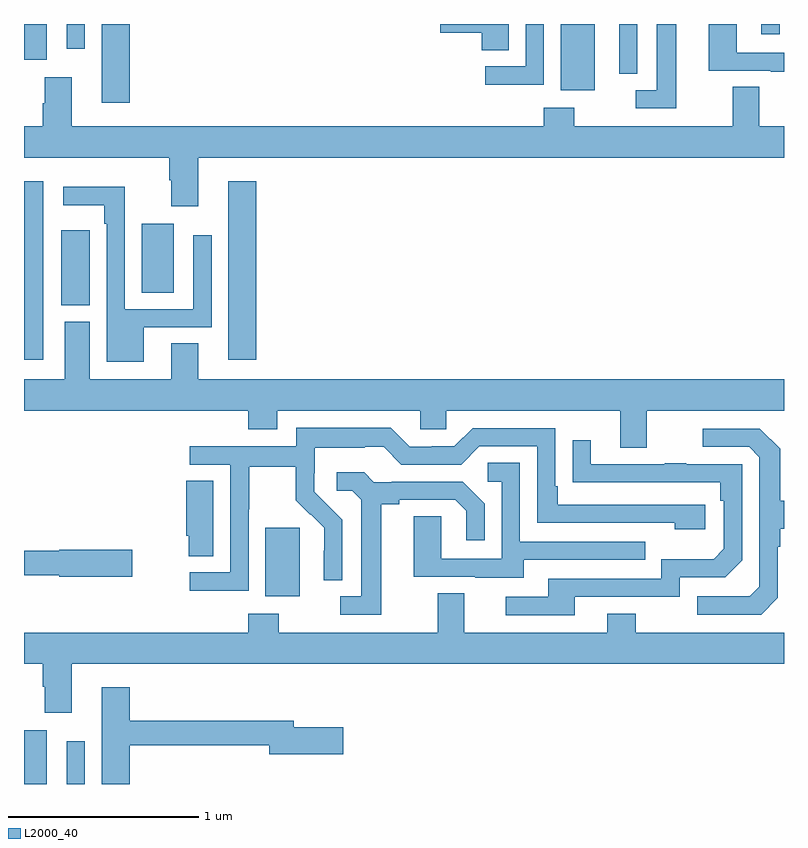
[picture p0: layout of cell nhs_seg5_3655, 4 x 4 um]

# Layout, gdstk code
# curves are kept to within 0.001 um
import gdstk
lib = gdstk.Library(unit=1e-6, precision=1e-09)
def R(c, l, rs):  # rectangles x0, y0, x1, y1
    for r in rs: c.add(gdstk.rectangle(r[:2], r[2:], *l))
def P(c, l, *ps):  # polygons
    for p in ps: c.add(gdstk.Polygon(p, *l))
L2000_40 = (2000, 40)

nhs_seg5_3655 = lib.new_cell('nhs_seg5_3655')
R(nhs_seg5_3655, L2000_40, [(327,850.799,327.121,851.083), (327.225,850.799,327.321,851.023), (328.271,851.786,328.45,852.147), (327,853.032,327.1,853.972), (328.076,853.032,328.223,853.972), (327.197,853.318,327.346,853.714), (327.62,853.384,327.787,853.747), (327.41,854.385,327.557,854.799), (329.825,854.45,330.004,854.799), (327,854.61,327.121,854.799), (327.225,854.67,327.321,854.799), (330.881,854.745,330.978,854.799)])
P(nhs_seg5_3655, L2000_40, [(330.228,854.799),(330.134,854.799),(330.134,854.69),(330.132,854.69),(330.132,854.536),(330.228,854.536)],
  [(329.736,854.799),(329.64,854.799),(329.64,854.577),(329.427,854.577),(329.427,854.479),(329.736,854.479)],
  [(329.551,854.799),(329.19,854.799),(329.19,854.753),(329.408,854.753),(329.408,854.662),(329.551,854.662)],
  [(331,854.649),(330.75,854.649),(330.75,854.799),(330.605,854.799),(330.605,854.553),(330.929,854.553),(330.929,854.549),(331,854.549)],
  [(330.433,854.799),(330.329,854.799),(330.329,854.451),(330.219,854.451),(330.219,854.355),(330.433,854.355)],
  [(327.916,854.096),(331,854.096),(331,854.26),(330.871,854.26),(330.871,854.468),(330.731,854.468),(330.731,854.26),(329.895,854.26),(329.895,854.359),(329.735,854.359),(329.735,854.26),(327.25,854.26),(327.25,854.518),(327.11,854.518),(327.11,854.381),(327.098,854.381),(327.098,854.26),(327,854.26),(327,854.096),(327.764,854.096),(327.764,853.976),(327.776,853.976),(327.776,853.839),(327.916,853.839)],
  [(327.631,853.203),(327.987,853.203),(327.987,853.687),(327.891,853.687),(327.891,853.299),(327.531,853.299),(327.531,853.942),(327.207,853.942),(327.207,853.844),(327.423,853.844),(327.423,853.748),(327.435,853.748),(327.435,853.022),(327.631,853.022)],
  [(330.277,852.764),(331,852.764),(331,852.928),(327.916,852.928),(327.916,853.118),(327.776,853.118),(327.776,852.928),(327.346,852.928),(327.346,853.233),(327.215,853.233),(327.215,852.928),(327,852.928),(327,852.764),(328.181,852.764),(328.181,852.665),(328.333,852.665),(328.333,852.764),(329.085,852.764),(329.085,852.666),(329.223,852.666),(329.223,852.764),(330.137,852.764),(330.137,852.57),(330.277,852.57)],
  [(328.182,852.244),(328.185,852.244),(328.185,852.468),(328.429,852.468),(328.429,852.293),(328.506,852.216),(328.509,852.219),(328.58,852.149),(328.58,852.026),(328.578,852.026),(328.578,851.872),(328.674,851.872),(328.674,852.19),(328.528,852.338),(328.528,852.435),(328.53,852.435),(328.53,852.569),(328.793,852.569),(328.793,852.573),(328.893,852.573),(328.986,852.48),(329.301,852.48),(329.397,852.576),(329.7,852.576),(329.7,852.174),(330.425,852.174),(330.425,852.14),(330.586,852.14),(330.586,852.27),(329.809,852.27),(329.809,852.367),(329.796,852.367),(329.796,852.672),(329.361,852.672),(329.265,852.576),(329.147,852.576),(329.147,852.573),(329.031,852.573),(328.931,852.673),(328.434,852.673),(328.434,852.576),(327.873,852.576),(327.873,852.48),(328.086,852.48),(328.086,851.913),(327.873,851.913),(327.873,851.815),(328.182,851.815)],
  [(330.966,851.778),(330.966,852.047),(330.979,852.047),(330.979,852.143),(331,852.143),(331,852.291),(330.979,852.291),(330.979,852.563),(330.873,852.669),(330.573,852.669),(330.573,852.573),(330.816,852.573),(330.87,852.519),(330.87,851.838),(330.819,851.787),(330.543,851.787),(330.543,851.691),(330.879,851.691)],
  [(329.899,851.784),(330.45,851.784),(330.45,851.886),(330.69,851.886),(330.78,851.976),(330.78,852.483),(330.485,852.483),(330.485,852.488),(330.373,852.488),(330.373,852.483),(329.983,852.483),(329.983,852.607),(329.887,852.607),(329.887,852.388),(330.664,852.387),(330.664,852.29),(330.684,852.29),(330.684,852.036),(330.631,851.983),(330.354,851.983),(330.354,851.88),(329.759,851.88),(329.759,851.784),(329.535,851.784),(329.535,851.688),(329.899,851.688)],
  [(329.629,851.979),(330.269,851.979),(330.269,852.075),(329.61,852.075),(329.61,852.491),(329.442,852.491),(329.442,852.39),(329.514,852.39),(329.514,851.985),(329.196,851.985),(329.196,852.209),(329.051,852.209),(329.051,851.889),(329.375,851.889),(329.375,851.885),(329.629,851.885)],
  [(328.879,852.272),(328.975,852.272),(328.975,852.294),(329.27,852.294),(329.327,852.237),(329.327,852.081),(329.424,852.081),(329.424,852.274),(329.308,852.39),(328.936,852.39),(328.936,852.387),(328.842,852.387),(328.79,852.439),(328.647,852.439),(328.647,852.342),(328.728,852.342),(328.775,852.295),(328.775,851.787),(328.665,851.787),(328.665,851.691),(328.879,851.691)],
  [(327.997,852.395),(327.854,852.395),(327.854,852.106),(327.866,852.106),(327.866,851.998),(327.997,851.998)],
  [(327.571,852.032),(327.186,852.032),(327.186,852.026),(327,852.026),(327,851.898),(327.186,851.898),(327.186,851.89),(327.571,851.89)],
  [(327.25,851.432),(331,851.432),(331,851.596),(330.219,851.596),(330.219,851.695),(330.071,851.695),(330.071,851.596),(329.317,851.596),(329.317,851.804),(329.177,851.804),(329.177,851.596),(328.341,851.596),(328.341,851.695),(328.181,851.695),(328.181,851.596),(327,851.596),(327,851.432),(327.098,851.432),(327.098,851.312),(327.11,851.312),(327.11,851.175),(327.25,851.175)],
  [(327.557,851.002),(328.292,851.002),(328.292,850.955),(328.681,850.955),(328.681,851.097),(328.42,851.097),(328.42,851.131),(327.557,851.131),(327.557,851.308),(327.41,851.308),(327.41,850.799),(327.557,850.799)])

lib.write_gds('nhs_seg5_3655.gds')
